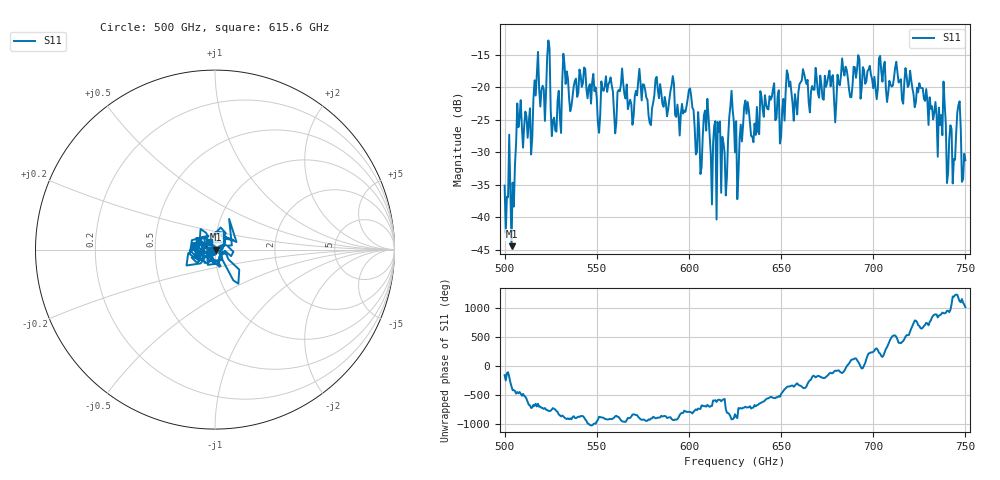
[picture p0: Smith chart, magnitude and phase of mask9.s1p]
!Created with skrf (http://scikit-rf.org).
# GHz S MA R 50.0
!freq magS11 angS11
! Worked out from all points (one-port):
!   401 points, 500 GHz to 750 GHz, reference 50 ohm
!   lowest |S11| = -44.4 dB at 503.8 GHz (marker M1), VSWR 1.01, Z = 50.6 + j0.0281 ohm
!   |S11| at or under -10 dB: start of sweep to end of sweep
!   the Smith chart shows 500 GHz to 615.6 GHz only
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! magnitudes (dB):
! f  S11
! 500 GHz  -35.1
! 503.8 GHz  -44.4
! 507.5 GHz  -26.1
! 513.8 GHz  -23.2
! 516.9 GHz  -21.2
! 523.8 GHz  -12.8
! 526.9 GHz  -24.6
! 531.2 GHz  -19.1
! 562.5 GHz  -20.6
! 579.4 GHz  -25.8
! 590.6 GHz  -19.6
! 593.8 GHz  -22.6
! 600.6 GHz  -20.1
! 605.6 GHz  -26.7
! 609.4 GHz  -26.6
! 618.8 GHz  -28.5
! 623.1 GHz  -20.5
! 625 GHz  -30.0
! 627.5 GHz  -27.9
! 631.2 GHz  -24.0
! 635 GHz  -28.4
! 656.2 GHz  -22.5
! 687.5 GHz  -21.5
! 718.8 GHz  -19.9
! 738.1 GHz  -19.1
! 741.2 GHz  -27.9
! 746.2 GHz  -22.7
! 750 GHz  -31.2
